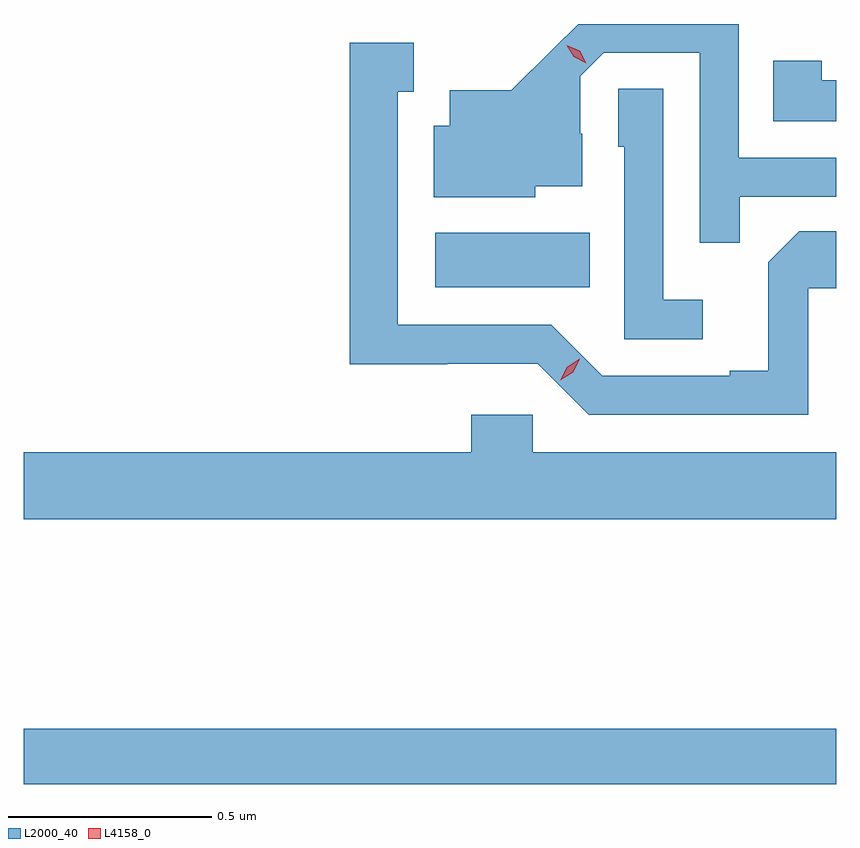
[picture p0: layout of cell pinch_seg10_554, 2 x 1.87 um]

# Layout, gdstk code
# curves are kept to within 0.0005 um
import gdstk
lib = gdstk.Library(unit=1e-6, precision=1e-09)
def R(c, l, rs):  # rectangles x0, y0, x1, y1
    for r in rs: c.add(gdstk.rectangle(r[:2], r[2:], *l))
def P(c, l, *ps):  # polygons
    for p in ps: c.add(gdstk.Polygon(p, *l))
L2000_40 = (2000, 40)
L4158_0 = (4158, 0)

pinch_seg10_554 = lib.new_cell('pinch_seg10_554')
R(pinch_seg10_554, L2000_40, [(230.269,1266.364,232.269,1266.5), (231.282,1267.586,231.662,1267.72)])
P(pinch_seg10_554, L2000_40, [(232.031,1267.809),(232.269,1267.809),(232.269,1267.905),(232.029,1267.905),(232.029,1268.234),(231.634,1268.234),(231.469,1268.071),(231.317,1268.071),(231.317,1267.984),(231.278,1267.984),(231.278,1267.808),(231.528,1267.808),(231.528,1267.835),(231.643,1267.835),(231.643,1267.964),(231.639,1267.964),(231.639,1268.106),(231.696,1268.163),(231.933,1268.163),(231.933,1267.696),(232.031,1267.696)],
  [(232.2,1267.584),(232.269,1267.584),(232.269,1267.724),(232.177,1267.724),(232.101,1267.648),(232.101,1267.381),(232.007,1267.381),(232.007,1267.368),(231.693,1267.368),(231.567,1267.494),(231.19,1267.494),(231.19,1268.067),(231.229,1268.067),(231.229,1268.188),(231.072,1268.188),(231.072,1267.397),(231.312,1267.397),(231.312,1267.398),(231.534,1267.398),(231.66,1267.272),(232.2,1267.272)],
  [(232.269,1268.096),(232.233,1268.096),(232.233,1268.143),(232.114,1268.143),(232.114,1267.995),(232.269,1267.995)],
  [(231.94,1267.555),(231.843,1267.555),(231.843,1268.075),(231.732,1268.075),(231.732,1267.932),(231.747,1267.932),(231.747,1267.458),(231.94,1267.458)],
  [(232.269,1267.18),(231.522,1267.18),(231.522,1267.273),(231.371,1267.273),(231.371,1267.18),(230.269,1267.18),(230.269,1267.016),(232.269,1267.016)])
P(pinch_seg10_554, L4158_0, [(231.654,1268.138),(231.623,1268.153),(231.606,1268.182),(231.606,1268.182),(231.606,1268.182),(231.637,1268.168),(231.654,1268.138),(231.654,1268.138)],
  [(231.589,1267.358),(231.589,1267.358),(231.606,1267.39),(231.637,1267.41),(231.638,1267.41),(231.638,1267.41),(231.621,1267.377),(231.589,1267.358)])

lib.write_gds('pinch_seg10_554.gds')
